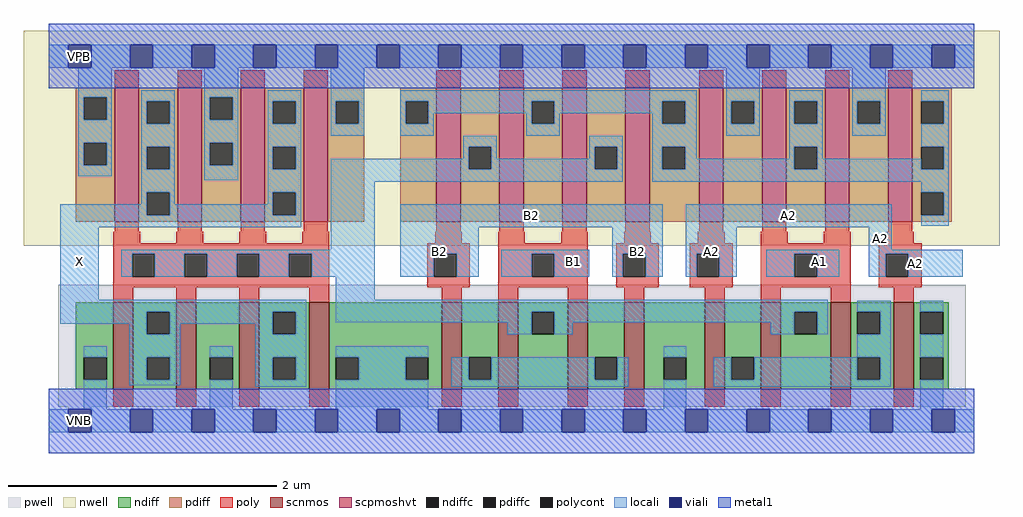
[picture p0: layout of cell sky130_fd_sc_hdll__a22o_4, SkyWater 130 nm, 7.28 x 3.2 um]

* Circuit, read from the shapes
.subckt sky130_fd_sc_hdll__a22o_4 A1 A2 B1 B2 VGND VNB VPB VPWR X
XM1 X n1 VGND VNB sky130_fd_pr__nfet_01v8 w=0.65 l=0.15 m=4
XM2 n2 B2 VGND VNB sky130_fd_pr__nfet_01v8 w=0.65 l=0.15 m=2
XM3 n1 B1 n2 VNB sky130_fd_pr__nfet_01v8 w=0.65 l=0.15 m=2
XM4 n3 A2 VGND VNB sky130_fd_pr__nfet_01v8 w=0.65 l=0.15 m=2
XM5 n1 A1 n3 VNB sky130_fd_pr__nfet_01v8 w=0.65 l=0.15 m=2
XM6 X n1 VPWR VPB sky130_fd_pr__pfet_01v8_hvt w=1 l=0.18 m=4
XM7 n1 B2 n4 VPB sky130_fd_pr__pfet_01v8_hvt w=1 l=0.18 m=2
XM8 n4 B1 n1 VPB sky130_fd_pr__pfet_01v8_hvt w=1 l=0.18 m=2
XM9 VPWR A2 n4 VPB sky130_fd_pr__pfet_01v8_hvt w=1 l=0.18 m=2
XM10 n4 A1 VPWR VPB sky130_fd_pr__pfet_01v8_hvt w=1 l=0.18 m=2
.ends

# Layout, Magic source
magic
tech sky130A
magscale 1 2
<< nwell >>
rect -38 261 1418 582
<< pwell >>
rect 14 21 1368 203
rect 29 -17 63 21
<< scnmos >>
rect 96 47 126 177
rect 190 47 220 177
rect 284 47 314 177
rect 388 47 418 177
rect 586 47 616 177
rect 670 47 700 177
rect 774 47 804 177
rect 858 47 888 177
rect 978 47 1008 177
rect 1062 47 1092 177
rect 1166 47 1196 177
rect 1260 47 1290 177
<< scpmoshvt >>
rect 98 297 134 497
rect 192 297 228 497
rect 286 297 322 497
rect 380 297 416 497
rect 578 297 614 497
rect 672 297 708 497
rect 766 297 802 497
rect 860 297 896 497
rect 970 297 1006 497
rect 1064 297 1100 497
rect 1158 297 1194 497
rect 1252 297 1288 497
<< ndiff >>
rect 40 95 96 177
rect 40 61 52 95
rect 86 61 96 95
rect 40 47 96 61
rect 126 163 190 177
rect 126 129 146 163
rect 180 129 190 163
rect 126 95 190 129
rect 126 61 146 95
rect 180 61 190 95
rect 126 47 190 61
rect 220 95 284 177
rect 220 61 240 95
rect 274 61 284 95
rect 220 47 284 61
rect 314 163 388 177
rect 314 129 334 163
rect 368 129 388 163
rect 314 95 388 129
rect 314 61 334 95
rect 368 61 388 95
rect 314 47 388 61
rect 418 95 586 177
rect 418 61 428 95
rect 462 61 532 95
rect 566 61 586 95
rect 418 47 586 61
rect 616 95 670 177
rect 616 61 626 95
rect 660 61 670 95
rect 616 47 670 61
rect 700 163 774 177
rect 700 129 720 163
rect 754 129 774 163
rect 700 47 774 129
rect 804 95 858 177
rect 804 61 814 95
rect 848 61 858 95
rect 804 47 858 61
rect 888 95 978 177
rect 888 61 917 95
rect 951 61 978 95
rect 888 47 978 61
rect 1008 95 1062 177
rect 1008 61 1018 95
rect 1052 61 1062 95
rect 1008 47 1062 61
rect 1092 163 1166 177
rect 1092 129 1112 163
rect 1146 129 1166 163
rect 1092 47 1166 129
rect 1196 163 1260 177
rect 1196 129 1206 163
rect 1240 129 1260 163
rect 1196 95 1260 129
rect 1196 61 1206 95
rect 1240 61 1260 95
rect 1196 47 1260 61
rect 1290 163 1342 177
rect 1290 129 1300 163
rect 1334 129 1342 163
rect 1290 95 1342 129
rect 1290 61 1300 95
rect 1334 61 1342 95
rect 1290 47 1342 61
<< pdiff >>
rect 40 483 98 497
rect 40 449 52 483
rect 86 449 98 483
rect 40 415 98 449
rect 40 381 52 415
rect 86 381 98 415
rect 40 297 98 381
rect 134 477 192 497
rect 134 443 146 477
rect 180 443 192 477
rect 134 409 192 443
rect 134 375 146 409
rect 180 375 192 409
rect 134 341 192 375
rect 134 307 146 341
rect 180 307 192 341
rect 134 297 192 307
rect 228 483 286 497
rect 228 449 240 483
rect 274 449 286 483
rect 228 415 286 449
rect 228 381 240 415
rect 274 381 286 415
rect 228 297 286 381
rect 322 477 380 497
rect 322 443 334 477
rect 368 443 380 477
rect 322 409 380 443
rect 322 375 334 409
rect 368 375 380 409
rect 322 341 380 375
rect 322 307 334 341
rect 368 307 380 341
rect 322 297 380 307
rect 416 477 470 497
rect 416 443 428 477
rect 462 443 470 477
rect 416 297 470 443
rect 524 477 578 497
rect 524 443 532 477
rect 566 443 578 477
rect 524 297 578 443
rect 614 409 672 497
rect 614 375 626 409
rect 660 375 672 409
rect 614 297 672 375
rect 708 477 766 497
rect 708 443 720 477
rect 754 443 766 477
rect 708 297 766 443
rect 802 409 860 497
rect 802 375 814 409
rect 848 375 860 409
rect 802 297 860 375
rect 896 477 970 497
rect 896 443 915 477
rect 949 443 970 477
rect 896 409 970 443
rect 896 375 915 409
rect 949 375 970 409
rect 896 297 970 375
rect 1006 477 1064 497
rect 1006 443 1018 477
rect 1052 443 1064 477
rect 1006 297 1064 443
rect 1100 477 1158 497
rect 1100 443 1112 477
rect 1146 443 1158 477
rect 1100 409 1158 443
rect 1100 375 1112 409
rect 1146 375 1158 409
rect 1100 297 1158 375
rect 1194 477 1252 497
rect 1194 443 1206 477
rect 1240 443 1252 477
rect 1194 297 1252 443
rect 1288 477 1347 497
rect 1288 443 1301 477
rect 1335 443 1347 477
rect 1288 409 1347 443
rect 1288 375 1301 409
rect 1335 375 1347 409
rect 1288 341 1347 375
rect 1288 307 1301 341
rect 1335 307 1347 341
rect 1288 297 1347 307
<< ndiffc >>
rect 52 61 86 95
rect 146 129 180 163
rect 146 61 180 95
rect 240 61 274 95
rect 334 129 368 163
rect 334 61 368 95
rect 428 61 462 95
rect 532 61 566 95
rect 626 61 660 95
rect 720 129 754 163
rect 814 61 848 95
rect 917 61 951 95
rect 1018 61 1052 95
rect 1112 129 1146 163
rect 1206 129 1240 163
rect 1206 61 1240 95
rect 1300 129 1334 163
rect 1300 61 1334 95
<< pdiffc >>
rect 52 449 86 483
rect 52 381 86 415
rect 146 443 180 477
rect 146 375 180 409
rect 146 307 180 341
rect 240 449 274 483
rect 240 381 274 415
rect 334 443 368 477
rect 334 375 368 409
rect 334 307 368 341
rect 428 443 462 477
rect 532 443 566 477
rect 626 375 660 409
rect 720 443 754 477
rect 814 375 848 409
rect 915 443 949 477
rect 915 375 949 409
rect 1018 443 1052 477
rect 1112 443 1146 477
rect 1112 375 1146 409
rect 1206 443 1240 477
rect 1301 443 1335 477
rect 1301 375 1335 409
rect 1301 307 1335 341
<< poly >>
rect 98 497 134 523
rect 192 497 228 523
rect 286 497 322 523
rect 380 497 416 523
rect 578 497 614 523
rect 672 497 708 523
rect 766 497 802 523
rect 860 497 896 523
rect 970 497 1006 523
rect 1064 497 1100 523
rect 1158 497 1194 523
rect 1252 497 1288 523
rect 98 282 134 297
rect 192 282 228 297
rect 286 282 322 297
rect 380 282 416 297
rect 578 282 614 297
rect 672 282 708 297
rect 766 282 802 297
rect 860 282 896 297
rect 970 282 1006 297
rect 1064 282 1100 297
rect 1158 282 1194 297
rect 1252 282 1288 297
rect 96 265 136 282
rect 190 265 230 282
rect 284 265 324 282
rect 378 265 418 282
rect 576 265 616 282
rect 670 265 710 282
rect 764 265 804 282
rect 858 265 898 282
rect 968 265 1008 282
rect 1062 265 1102 282
rect 1156 265 1196 282
rect 1250 265 1290 282
rect 96 249 418 265
rect 96 215 124 249
rect 158 215 202 249
rect 236 215 280 249
rect 314 215 358 249
rect 392 215 418 249
rect 96 199 418 215
rect 564 249 628 265
rect 564 215 574 249
rect 608 215 628 249
rect 564 199 628 215
rect 670 249 804 265
rect 670 215 720 249
rect 754 215 804 249
rect 670 199 804 215
rect 846 249 910 265
rect 846 215 856 249
rect 890 215 910 249
rect 846 199 910 215
rect 956 249 1020 265
rect 956 215 966 249
rect 1000 215 1020 249
rect 956 199 1020 215
rect 1062 249 1196 265
rect 1062 215 1112 249
rect 1146 215 1196 249
rect 1062 199 1196 215
rect 1238 249 1302 265
rect 1238 215 1248 249
rect 1282 215 1302 249
rect 1238 199 1302 215
rect 96 177 126 199
rect 190 177 220 199
rect 284 177 314 199
rect 388 177 418 199
rect 586 177 616 199
rect 670 177 700 199
rect 774 177 804 199
rect 858 177 888 199
rect 978 177 1008 199
rect 1062 177 1092 199
rect 1166 177 1196 199
rect 1260 177 1290 199
rect 96 21 126 47
rect 190 21 220 47
rect 284 21 314 47
rect 388 21 418 47
rect 586 21 616 47
rect 670 21 700 47
rect 774 21 804 47
rect 858 21 888 47
rect 978 21 1008 47
rect 1062 21 1092 47
rect 1166 21 1196 47
rect 1260 21 1290 47
<< polycont >>
rect 124 215 158 249
rect 202 215 236 249
rect 280 215 314 249
rect 358 215 392 249
rect 574 215 608 249
rect 720 215 754 249
rect 856 215 890 249
rect 966 215 1000 249
rect 1112 215 1146 249
rect 1248 215 1282 249
<< locali >>
rect 0 527 29 561
rect 63 527 121 561
rect 155 527 213 561
rect 247 527 305 561
rect 339 527 397 561
rect 431 527 489 561
rect 523 527 581 561
rect 615 527 673 561
rect 707 527 765 561
rect 799 527 857 561
rect 891 527 949 561
rect 983 527 1041 561
rect 1075 527 1133 561
rect 1167 527 1225 561
rect 1259 527 1317 561
rect 1351 527 1380 561
rect 44 483 94 527
rect 44 449 52 483
rect 86 449 94 483
rect 44 415 94 449
rect 44 381 52 415
rect 86 381 94 415
rect 44 365 94 381
rect 138 477 188 493
rect 138 443 146 477
rect 180 443 188 477
rect 138 409 188 443
rect 138 375 146 409
rect 180 375 188 409
rect 138 341 188 375
rect 232 483 282 527
rect 232 449 240 483
rect 274 449 282 483
rect 232 415 282 449
rect 232 381 240 415
rect 274 381 282 415
rect 232 359 282 381
rect 326 477 376 493
rect 326 443 334 477
rect 368 443 376 477
rect 326 409 376 443
rect 420 477 470 527
rect 420 443 428 477
rect 462 443 470 477
rect 420 425 470 443
rect 524 477 966 493
rect 524 443 532 477
rect 566 459 720 477
rect 566 443 574 459
rect 524 425 574 443
rect 712 443 720 459
rect 754 459 915 477
rect 754 443 762 459
rect 712 425 762 443
rect 900 443 915 459
rect 949 443 966 477
rect 326 375 334 409
rect 368 375 376 409
rect 618 409 668 425
rect 618 391 626 409
rect 138 323 146 341
rect 17 307 146 323
rect 180 323 188 341
rect 326 341 376 375
rect 326 323 334 341
rect 180 307 334 323
rect 368 307 376 341
rect 17 289 376 307
rect 420 375 626 391
rect 660 391 668 409
rect 806 409 856 425
rect 806 391 814 409
rect 660 375 814 391
rect 848 375 856 409
rect 420 357 856 375
rect 900 409 966 443
rect 1010 477 1060 527
rect 1010 443 1018 477
rect 1052 443 1060 477
rect 1010 425 1060 443
rect 1104 477 1154 493
rect 1104 443 1112 477
rect 1146 443 1154 477
rect 900 375 915 409
rect 949 391 966 409
rect 1104 409 1154 443
rect 1198 477 1248 527
rect 1198 443 1206 477
rect 1240 443 1248 477
rect 1198 425 1248 443
rect 1301 477 1342 493
rect 1335 443 1342 477
rect 1104 391 1112 409
rect 949 375 1112 391
rect 1146 391 1154 409
rect 1301 409 1342 443
rect 1146 375 1301 391
rect 1335 375 1342 409
rect 900 357 1342 375
rect 17 181 74 289
rect 420 255 486 357
rect 1301 341 1342 357
rect 108 249 486 255
rect 108 215 124 249
rect 158 215 202 249
rect 236 215 280 249
rect 314 215 358 249
rect 392 215 486 249
rect 524 289 916 323
rect 524 249 641 289
rect 524 215 574 249
rect 608 215 641 249
rect 675 249 806 255
rect 675 215 720 249
rect 754 215 806 249
rect 840 249 916 289
rect 840 215 856 249
rect 890 215 916 249
rect 950 289 1257 323
rect 1335 307 1342 341
rect 1301 291 1342 307
rect 950 249 1026 289
rect 1223 255 1257 289
rect 950 215 966 249
rect 1000 215 1026 249
rect 1070 249 1179 255
rect 1070 215 1112 249
rect 1146 215 1179 249
rect 1223 249 1363 255
rect 1223 215 1248 249
rect 1282 215 1363 249
rect 428 181 486 215
rect 17 163 384 181
rect 17 145 146 163
rect 120 129 146 145
rect 180 145 334 163
rect 180 129 196 145
rect 52 95 86 111
rect 52 17 86 61
rect 120 95 196 129
rect 308 129 334 145
rect 368 129 384 163
rect 428 163 1162 181
rect 428 147 720 163
rect 684 129 720 147
rect 754 147 1112 163
rect 754 129 781 147
rect 1077 129 1112 147
rect 1146 129 1162 163
rect 1206 163 1256 179
rect 1240 129 1256 163
rect 120 61 146 95
rect 180 61 196 95
rect 120 53 196 61
rect 240 95 274 111
rect 240 17 274 61
rect 308 95 384 129
rect 308 61 334 95
rect 368 61 384 95
rect 308 51 384 61
rect 428 95 566 111
rect 917 95 951 111
rect 1206 95 1256 129
rect 462 61 532 95
rect 428 17 566 61
rect 600 61 626 95
rect 660 61 814 95
rect 848 61 864 95
rect 600 51 864 61
rect 917 17 951 61
rect 992 61 1018 95
rect 1052 61 1206 95
rect 1240 61 1256 95
rect 992 51 1256 61
rect 1300 163 1334 179
rect 1300 95 1334 129
rect 1300 17 1334 61
rect 0 -17 29 17
rect 63 -17 121 17
rect 155 -17 213 17
rect 247 -17 305 17
rect 339 -17 397 17
rect 431 -17 489 17
rect 523 -17 581 17
rect 615 -17 673 17
rect 707 -17 765 17
rect 799 -17 857 17
rect 891 -17 949 17
rect 983 -17 1041 17
rect 1075 -17 1133 17
rect 1167 -17 1225 17
rect 1259 -17 1317 17
rect 1351 -17 1380 17
<< viali >>
rect 29 527 63 561
rect 121 527 155 561
rect 213 527 247 561
rect 305 527 339 561
rect 397 527 431 561
rect 489 527 523 561
rect 581 527 615 561
rect 673 527 707 561
rect 765 527 799 561
rect 857 527 891 561
rect 949 527 983 561
rect 1041 527 1075 561
rect 1133 527 1167 561
rect 1225 527 1259 561
rect 1317 527 1351 561
rect 29 -17 63 17
rect 121 -17 155 17
rect 213 -17 247 17
rect 305 -17 339 17
rect 397 -17 431 17
rect 489 -17 523 17
rect 581 -17 615 17
rect 673 -17 707 17
rect 765 -17 799 17
rect 857 -17 891 17
rect 949 -17 983 17
rect 1041 -17 1075 17
rect 1133 -17 1167 17
rect 1225 -17 1259 17
rect 1317 -17 1351 17
<< metal1 >>
rect 0 561 1380 592
rect 0 527 29 561
rect 63 527 121 561
rect 155 527 213 561
rect 247 527 305 561
rect 339 527 397 561
rect 431 527 489 561
rect 523 527 581 561
rect 615 527 673 561
rect 707 527 765 561
rect 799 527 857 561
rect 891 527 949 561
rect 983 527 1041 561
rect 1075 527 1133 561
rect 1167 527 1225 561
rect 1259 527 1317 561
rect 1351 527 1380 561
rect 0 496 1380 527
rect 0 17 1380 48
rect 0 -17 29 17
rect 63 -17 121 17
rect 155 -17 213 17
rect 247 -17 305 17
rect 339 -17 397 17
rect 431 -17 489 17
rect 523 -17 581 17
rect 615 -17 673 17
rect 707 -17 765 17
rect 799 -17 857 17
rect 891 -17 949 17
rect 983 -17 1041 17
rect 1075 -17 1133 17
rect 1167 -17 1225 17
rect 1259 -17 1317 17
rect 1351 -17 1380 17
rect 0 -48 1380 -17
<< labels >>
flabel locali s 765 221 799 255 0 FreeSans 400 0 0 0 B1
port 3 nsew signal input
flabel locali s 840 215 916 289 0 FreeSans 400 0 0 0 B2
port 4 nsew signal input
flabel locali s 29 221 63 255 0 FreeSans 400 0 0 0 X
port 9 nsew signal output
flabel locali s 1223 255 1257 289 0 FreeSans 400 180 0 0 A2
port 2 nsew signal input
flabel locali s 1132 221 1166 255 0 FreeSans 400 180 0 0 A1
port 1 nsew signal input
flabel pwell s 29 -17 63 17 0 FreeSans 200 0 0 0 VNB
port 6 nsew ground bidirectional
flabel nwell s 29 527 63 561 0 FreeSans 200 0 0 0 VPB
port 7 nsew power bidirectional
flabel metal1 s 29 -17 63 17 0 FreeSans 200 0 0 0 VGND
port 5 nsew ground bidirectional
flabel metal1 s 29 527 63 561 0 FreeSans 200 0 0 0 VPWR
port 8 nsew power bidirectional
rlabel locali s 1223 215 1363 255 1 A2
port 2 nsew signal input
rlabel locali s 950 289 1257 323 1 A2
port 2 nsew signal input
rlabel locali s 950 215 1026 289 1 A2
port 2 nsew signal input
rlabel locali s 524 289 916 323 1 B2
port 4 nsew signal input
rlabel locali s 524 215 641 289 1 B2
port 4 nsew signal input
<< properties >>
string LEFsite unithd
string LEFclass CORE
string FIXED_BBOX 0 0 1380 544
string GDS_FILE $PDKPATH/libs.ref/sky130_fd_sc_hdll/gds/sky130_fd_sc_hdll.gds
string LEFsymmetry X Y R90
string GDS_END 70274
string GDS_START 60128
string LEFproperties maskLayoutSubType "abstract" prCellType "standard" originalViewName "layout"
<< end >>
